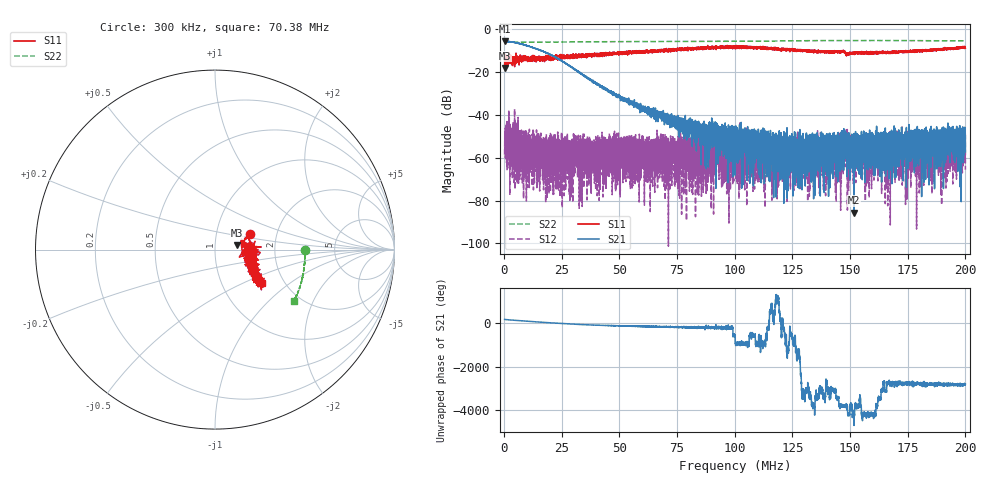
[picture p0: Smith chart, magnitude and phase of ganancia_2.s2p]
# Hz S DB R 50
! CMT, M5065, 19127446, 24.2.4/2
! Date: 11/8/2024 6:28:59 PM
! Data: Format (Calibration Info)
! Freq	S11:dB/Ang(F2)	S21:dB/Ang(F2)	S12:dB/Ang(F2)	S22:dB/Ang(F2)
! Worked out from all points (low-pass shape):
!   9000 points, 300 kHz to 200 MHz, reference 50 ohm
!   highest |S21| = -5.53 dB at 388.8 kHz (marker M1); lowest = -85.6 dB at 151.7 MHz (marker M2)
!   |S21| within 3 dB of the highest: start of sweep to 12.47 MHz; 12.5 MHz to 12.6 MHz (98.22 kHz wide, 0.783 % of centre)
!   lowest |S11| = -18.0 dB at 344.4 kHz (marker M3), VSWR 1.29, Z = 64.1 + j3.02 ohm
!   |S11| at or under -10 dB: start of sweep to 57.33 MHz; 147.2 MHz to 168.9 MHz (21.65 MHz wide, 13.7 % of centre); 168.9 MHz to 174.1 MHz (5.233 MHz wide, 3.05 % of centre)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
!   |S22| runs from -6.0 to -5.2 dB; largest |S21 - S12| = 0.53
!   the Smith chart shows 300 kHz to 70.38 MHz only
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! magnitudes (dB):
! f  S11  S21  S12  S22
! 300 kHz  -13.4  -5.6  -58.6  -6.0
! 344.4 kHz  -18.0  -5.5  -55.0  -6.0
! 388.8 kHz  -14.0  -5.5  -49.3  -5.9
! 1.432 MHz  -14.1  -5.6  -47.8  -6.0
! 3.473 MHz  -12.8  -5.9  -50.3  -6.0
! 9.998 MHz  -14.4  -7.6  -52.1  -6.0
! 28.19 MHz  -12.6  -17.0  -52.6  -5.9
! 30.72 MHz  -12.6  -18.7  -67.8  -5.9
! 33.59 MHz  -12.3  -20.9  -54.1  -5.9
! 66.87 MHz  -9.9  -40.7  -55.3  -5.6
! 100.2 MHz  -8.6  -50.3  -55.8  -5.6
! 122.9 MHz  -9.8  -54.4  -55.1  -5.4
! 133.4 MHz  -10.3  -60.5  -55.6  -5.3
! 142.4 MHz  -10.2  -50.8  -60.3  -5.2
! 144.9 MHz  -10.6  -52.7  -48.2  -5.2
! 148 MHz  -11.5  -52.3  -56.6  -5.2
! 151.7 MHz  -11.7  -85.6  -69.0  -5.2
! 166.7 MHz  -10.5  -51.8  -57.6  -5.2
! 192.5 MHz  -9.3  -48.5  -64.1  -5.3
! 196.6 MHz  -8.7  -54.2  -51.4  -5.4
! 199 MHz  -8.4  -49.0  -52.7  -5.4
! 200 MHz  -8.8  -57.2  -65.6  -5.4
